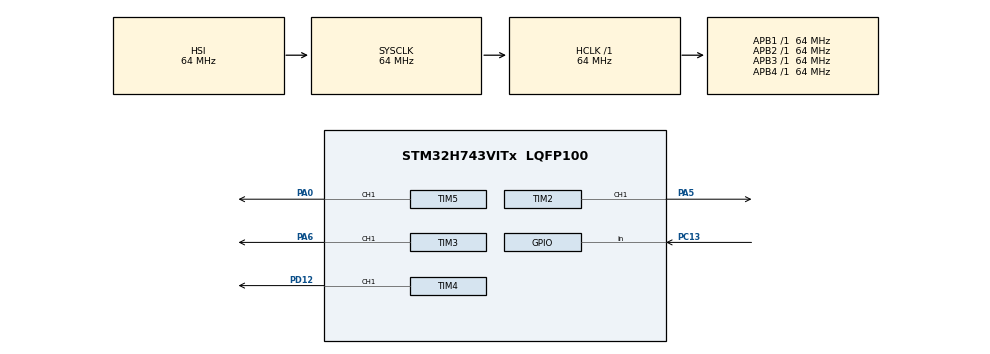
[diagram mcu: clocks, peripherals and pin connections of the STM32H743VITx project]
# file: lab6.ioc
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CORTEX_M7.default_mode_Activation=1
Mcu.Family=STM32H7
Mcu.Name=STM32H743VITx
Mcu.Package=LQFP100
NVIC.PriorityGroup=NVIC_PRIORITYGROUP_4
PA0.Signal=S_TIM5_CH1
PA5.Signal=S_TIM2_CH1_ETR
PA6.Signal=S_TIM3_CH1
PC13.GPIO_PuPd=GPIO_PULLDOWN
PC13.Signal=GPIO_Input
PD12.Signal=S_TIM4_CH1
ProjectManager.HeapSize=0x200
ProjectManager.StackSize=0x400
ProjectManager.TargetToolchain=STM32CubeIDE
RCC.ADCFreq_Value=129000000
RCC.APB1Freq_Value=64000000
RCC.APB2Freq_Value=64000000
RCC.APB3Freq_Value=64000000
RCC.APB4Freq_Value=64000000
RCC.CortexFreq_Value=64000000
RCC.HCLKFreq_Value=64000000
RCC.SYSCLKFreq_VALUE=64000000
RCC.USBFreq_Value=129000000
SH.S_TIM2_CH1_ETR.0=TIM2_CH1,PWM Generation1 CH1
SH.S_TIM3_CH1.0=TIM3_CH1,PWM Generation1 CH1
SH.S_TIM4_CH1.0=TIM4_CH1,PWM Generation1 CH1
SH.S_TIM5_CH1.0=TIM5_CH1,PWM Generation1 CH1
TIM2.Channel-PWM\ Generation1\ CH1=TIM_CHANNEL_1
TIM2.Period=999
TIM2.Prescaler=63
TIM3.Channel-PWM\ Generation1\ CH1=TIM_CHANNEL_1
TIM3.Period=499
TIM3.Prescaler=63
TIM4.Channel-PWM\ Generation1\ CH1=TIM_CHANNEL_1
TIM4.Period=1999
TIM4.Prescaler=63
TIM5.Channel-PWM\ Generation1\ CH1=TIM_CHANNEL_1
TIM5.Period=199
TIM5.Prescaler=63
VP_MEMORYMAP_VS_MEMORYMAP.Mode=CurAppReg
VP_TIM2_VS_ClockSourceINT.Mode=Internal
VP_TIM3_VS_ClockSourceINT.Mode=Internal
VP_TIM4_VS_ClockSourceINT.Mode=Internal
VP_TIM5_VS_ClockSourceINT.Mode=Internal
board=custom

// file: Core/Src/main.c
/* USER CODE BEGIN Header */
/**
  ******************************************************************************
  * @file           : main.c
  * @brief          : Main program body
  ******************************************************************************
  * @attention
  *
  * Copyright (c) 2026 STMicroelectronics.
  * All rights reserved.
  *
  * This software is licensed under terms that can be found in the LICENSE file
  * in the root directory of this software component.
  * If no LICENSE file comes with this software, it is provided AS-IS.
  *
  ******************************************************************************
  */
/* USER CODE END Header */
#include "main.h"

TIM_HandleTypeDef htim2;
TIM_HandleTypeDef htim3;
TIM_HandleTypeDef htim4;
TIM_HandleTypeDef htim5;

/* USER CODE BEGIN PV */
uint32_t duty_tim4 = 1000;        // Початкове значення для 50% (оскільки ARR = 999)
uint32_t last_button_press = 0;  // Змінна для антибрязкоту
/* USER CODE END PV */

void SystemClock_Config(void);
static void MPU_Config(void);
static void MX_GPIO_Init(void);
static void MX_TIM2_Init(void);
static void MX_TIM3_Init(void);
static void MX_TIM4_Init(void);
static void MX_TIM5_Init(void);

int main(void)
{

  /* MPU Configuration--------------------------------------------------------*/
  MPU_Config();

  /* MCU Configuration--------------------------------------------------------*/

  /* Reset of all peripherals, Initializes the Flash interface and the Systick. */
  HAL_Init();

  /* Configure the system clock */
  SystemClock_Config();

  /* Initialize all configured peripherals */
  MX_GPIO_Init();
  MX_TIM2_Init();
  MX_TIM3_Init();
  MX_TIM4_Init();
  MX_TIM5_Init();
  /* USER CODE BEGIN 2 */
  // Запуск апаратної генерації ШІМ на 4 таймерах
  HAL_TIM_PWM_Start(&htim2, TIM_CHANNEL_1);
  HAL_TIM_PWM_Start(&htim3, TIM_CHANNEL_1);
  HAL_TIM_PWM_Start(&htim4, TIM_CHANNEL_1);
  HAL_TIM_PWM_Start(&htim5, TIM_CHANNEL_1);

  // Cтартові 50% заповнення для всіх таймерів
  // Макроси змінюють регістр порівняння (CCR)
  __HAL_TIM_SET_COMPARE(&htim2, TIM_CHANNEL_1, 500);  // 50% від ARR=999 (1 кГц)
  __HAL_TIM_SET_COMPARE(&htim3, TIM_CHANNEL_1, 250);  // 50% від ARR=499 (2 кГц)
  __HAL_TIM_SET_COMPARE(&htim4, TIM_CHANNEL_1, 1000); // 50% від ARR=1999 (500 Гц)
  __HAL_TIM_SET_COMPARE(&htim5, TIM_CHANNEL_1, 100);  // 50% від ARR=199 (5 кГц)
  /* USER CODE END 2 */

  /* Infinite loop */
  while (1)
  {

    /* USER CODE BEGIN 3 */
	  if (HAL_GPIO_ReadPin(GPIOC, GPIO_PIN_13) == GPIO_PIN_SET)
	  {
	      // Програмний антибрязкіт (200 мс)
	      if (HAL_GetTick() - last_button_press > 200)
	      {
	          last_button_press = HAL_GetTick();
	          // Збільшуємо ширину імпульсу для TIM4 на 10%.
	          // Оскільки ARR для TIM4 = 1999, крок 10% дорівнює 200!
	          duty_tim4 += 200;
	          // Якщо перевищили 100% (2000) - скидаємо в нуль
	          if (duty_tim4 > 2000)
	          {
	              duty_tim4 = 0;
	          }
	          __HAL_TIM_SET_COMPARE(&htim4, TIM_CHANNEL_1, duty_tim4);
	      }
	  }
  }
  /* USER CODE END 3 */
}

void SystemClock_Config(void)
{
  RCC_OscInitTypeDef RCC_OscInitStruct = {0};
  RCC_ClkInitTypeDef RCC_ClkInitStruct = {0};

  /** Supply configuration update enable
  */
  HAL_PWREx_ConfigSupply(PWR_LDO_SUPPLY);

  /** Configure the main internal regulator output voltage
  */
  __HAL_PWR_VOLTAGESCALING_CONFIG(PWR_REGULATOR_VOLTAGE_SCALE3);

  while(!__HAL_PWR_GET_FLAG(PWR_FLAG_VOSRDY)) {}

  /** Initializes the RCC Oscillators according to the specified parameters
  * in the RCC_OscInitTypeDef structure.
  */
  RCC_OscInitStruct.OscillatorType = RCC_OSCILLATORTYPE_HSI;
  RCC_OscInitStruct.HSIState = RCC_HSI_DIV1;
  RCC_OscInitStruct.HSICalibrationValue = RCC_HSICALIBRATION_DEFAULT;
  RCC_OscInitStruct.PLL.PLLState = RCC_PLL_NONE;
  if (HAL_RCC_OscConfig(&RCC_OscInitStruct) != HAL_OK)
  {
    Error_Handler();
  }

  /** Initializes the CPU, AHB and APB buses clocks
  */
  RCC_ClkInitStruct.ClockType = RCC_CLOCKTYPE_HCLK|RCC_CLOCKTYPE_SYSCLK
                              |RCC_CLOCKTYPE_PCLK1|RCC_CLOCKTYPE_PCLK2
                              |RCC_CLOCKTYPE_D3PCLK1|RCC_CLOCKTYPE_D1PCLK1;
  RCC_ClkInitStruct.SYSCLKSource = RCC_SYSCLKSOURCE_HSI;
  RCC_ClkInitStruct.SYSCLKDivider = RCC_SYSCLK_DIV1;
  RCC_ClkInitStruct.AHBCLKDivider = RCC_HCLK_DIV1;
  RCC_ClkInitStruct.APB3CLKDivider = RCC_APB3_DIV1;
  RCC_ClkInitStruct.APB1CLKDivider = RCC_APB1_DIV1;
  RCC_ClkInitStruct.APB2CLKDivider = RCC_APB2_DIV1;
  RCC_ClkInitStruct.APB4CLKDivider = RCC_APB4_DIV1;

  if (HAL_RCC_ClockConfig(&RCC_ClkInitStruct, FLASH_LATENCY_1) != HAL_OK)
  {
    Error_Handler();
  }
}

static void MX_TIM2_Init(void)
{

  TIM_ClockConfigTypeDef sClockSourceConfig = {0};
  TIM_MasterConfigTypeDef sMasterConfig = {0};
  TIM_OC_InitTypeDef sConfigOC = {0};

  htim2.Instance = TIM2;
  htim2.Init.Prescaler = 63;
  htim2.Init.CounterMode = TIM_COUNTERMODE_UP;
  htim2.Init.Period = 999;
  htim2.Init.ClockDivision = TIM_CLOCKDIVISION_DIV1;
  htim2.Init.AutoReloadPreload = TIM_AUTORELOAD_PRELOAD_DISABLE;
  if (HAL_TIM_Base_Init(&htim2) != HAL_OK)
  {
    Error_Handler();
  }
  sClockSourceConfig.ClockSource = TIM_CLOCKSOURCE_INTERNAL;
  if (HAL_TIM_ConfigClockSource(&htim2, &sClockSourceConfig) != HAL_OK)
  {
    Error_Handler();
  }
  if (HAL_TIM_PWM_Init(&htim2) != HAL_OK)
  {
    Error_Handler();
  }
  sMasterConfig.MasterOutputTrigger = TIM_TRGO_RESET;
  sMasterConfig.MasterSlaveMode = TIM_MASTERSLAVEMODE_DISABLE;
  if (HAL_TIMEx_MasterConfigSynchronization(&htim2, &sMasterConfig) != HAL_OK)
  {
    Error_Handler();
  }
  sConfigOC.OCMode = TIM_OCMODE_PWM1;
  sConfigOC.Pulse = 0;
  sConfigOC.OCPolarity = TIM_OCPOLARITY_HIGH;
  sConfigOC.OCFastMode = TIM_OCFAST_DISABLE;
  if (HAL_TIM_PWM_ConfigChannel(&htim2, &sConfigOC, TIM_CHANNEL_1) != HAL_OK)
  {
    Error_Handler();
  }
  HAL_TIM_MspPostInit(&htim2);

}

static void MX_TIM3_Init(void)
{

  TIM_ClockConfigTypeDef sClockSourceConfig = {0};
  TIM_MasterConfigTypeDef sMasterConfig = {0};
  TIM_OC_InitTypeDef sConfigOC = {0};

  htim3.Instance = TIM3;
  htim3.Init.Prescaler = 63;
  htim3.Init.CounterMode = TIM_COUNTERMODE_UP;
  htim3.Init.Period = 499;
  htim3.Init.ClockDivision = TIM_CLOCKDIVISION_DIV1;
  htim3.Init.AutoReloadPreload = TIM_AUTORELOAD_PRELOAD_DISABLE;
  if (HAL_TIM_Base_Init(&htim3) != HAL_OK)
  {
    Error_Handler();
  }
  sClockSourceConfig.ClockSource = TIM_CLOCKSOURCE_INTERNAL;
  if (HAL_TIM_ConfigClockSource(&htim3, &sClockSourceConfig) != HAL_OK)
  {
    Error_Handler();
  }
  if (HAL_TIM_PWM_Init(&htim3) != HAL_OK)
  {
    Error_Handler();
  }
  sMasterConfig.MasterOutputTrigger = TIM_TRGO_RESET;
  sMasterConfig.MasterSlaveMode = TIM_MASTERSLAVEMODE_DISABLE;
  if (HAL_TIMEx_MasterConfigSynchronization(&htim3, &sMasterConfig) != HAL_OK)
  {
    Error_Handler();
  }
  sConfigOC.OCMode = TIM_OCMODE_PWM1;
  sConfigOC.Pulse = 0;
  sConfigOC.OCPolarity = TIM_OCPOLARITY_HIGH;
  sConfigOC.OCFastMode = TIM_OCFAST_DISABLE;
  if (HAL_TIM_PWM_ConfigChannel(&htim3, &sConfigOC, TIM_CHANNEL_1) != HAL_OK)
  {
    Error_Handler();
  }
  HAL_TIM_MspPostInit(&htim3);

}

static void MX_TIM4_Init(void)
{

  TIM_ClockConfigTypeDef sClockSourceConfig = {0};
  TIM_MasterConfigTypeDef sMasterConfig = {0};
  TIM_OC_InitTypeDef sConfigOC = {0};

  htim4.Instance = TIM4;
  htim4.Init.Prescaler = 63;
  htim4.Init.CounterMode = TIM_COUNTERMODE_UP;
  htim4.Init.Period = 1999;
  htim4.Init.ClockDivision = TIM_CLOCKDIVISION_DIV1;
  htim4.Init.AutoReloadPreload = TIM_AUTORELOAD_PRELOAD_DISABLE;
  if (HAL_TIM_Base_Init(&htim4) != HAL_OK)
  {
    Error_Handler();
  }
  sClockSourceConfig.ClockSource = TIM_CLOCKSOURCE_INTERNAL;
  if (HAL_TIM_ConfigClockSource(&htim4, &sClockSourceConfig) != HAL_OK)
  {
    Error_Handler();
  }
  if (HAL_TIM_PWM_Init(&htim4) != HAL_OK)
  {
    Error_Handler();
  }
  sMasterConfig.MasterOutputTrigger = TIM_TRGO_RESET;
  sMasterConfig.MasterSlaveMode = TIM_MASTERSLAVEMODE_DISABLE;
  if (HAL_TIMEx_MasterConfigSynchronization(&htim4, &sMasterConfig) != HAL_OK)
  {
    Error_Handler();
  }
  sConfigOC.OCMode = TIM_OCMODE_PWM1;
  sConfigOC.Pulse = 0;
  sConfigOC.OCPolarity = TIM_OCPOLARITY_HIGH;
  sConfigOC.OCFastMode = TIM_OCFAST_DISABLE;
  if (HAL_TIM_PWM_ConfigChannel(&htim4, &sConfigOC, TIM_CHANNEL_1) != HAL_OK)
  {
    Error_Handler();
  }
  HAL_TIM_MspPostInit(&htim4);

}

static void MX_TIM5_Init(void)
{

  TIM_ClockConfigTypeDef sClockSourceConfig = {0};
  TIM_MasterConfigTypeDef sMasterConfig = {0};
  TIM_OC_InitTypeDef sConfigOC = {0};

  htim5.Instance = TIM5;
  htim5.Init.Prescaler = 63;
  htim5.Init.CounterMode = TIM_COUNTERMODE_UP;
  htim5.Init.Period = 199;
  htim5.Init.ClockDivision = TIM_CLOCKDIVISION_DIV1;
  htim5.Init.AutoReloadPreload = TIM_AUTORELOAD_PRELOAD_DISABLE;
  if (HAL_TIM_Base_Init(&htim5) != HAL_OK)
  {
    Error_Handler();
  }
  sClockSourceConfig.ClockSource = TIM_CLOCKSOURCE_INTERNAL;
  if (HAL_TIM_ConfigClockSource(&htim5, &sClockSourceConfig) != HAL_OK)
  {
    Error_Handler();
  }
  if (HAL_TIM_PWM_Init(&htim5) != HAL_OK)
  {
    Error_Handler();
  }
  sMasterConfig.MasterOutputTrigger = TIM_TRGO_RESET;
  sMasterConfig.MasterSlaveMode = TIM_MASTERSLAVEMODE_DISABLE;
  if (HAL_TIMEx_MasterConfigSynchronization(&htim5, &sMasterConfig) != HAL_OK)
  {
    Error_Handler();
  }
  sConfigOC.OCMode = TIM_OCMODE_PWM1;
  sConfigOC.Pulse = 0;
  sConfigOC.OCPolarity = TIM_OCPOLARITY_HIGH;
  sConfigOC.OCFastMode = TIM_OCFAST_DISABLE;
  if (HAL_TIM_PWM_ConfigChannel(&htim5, &sConfigOC, TIM_CHANNEL_1) != HAL_OK)
  {
    Error_Handler();
  }
  HAL_TIM_MspPostInit(&htim5);

}

static void MX_GPIO_Init(void)
{
  GPIO_InitTypeDef GPIO_InitStruct = {0};

  /* GPIO Ports Clock Enable */
  __HAL_RCC_GPIOC_CLK_ENABLE();
  __HAL_RCC_GPIOA_CLK_ENABLE();
  __HAL_RCC_GPIOD_CLK_ENABLE();

  /*Configure GPIO pin : PC13 */
  GPIO_InitStruct.Pin = GPIO_PIN_13;
  GPIO_InitStruct.Mode = GPIO_MODE_INPUT;
  GPIO_InitStruct.Pull = GPIO_PULLDOWN;
  HAL_GPIO_Init(GPIOC, &GPIO_InitStruct);

}

 /* MPU Configuration */

void MPU_Config(void)
{
  MPU_Region_InitTypeDef MPU_InitStruct = {0};

  /* Disables the MPU */
  HAL_MPU_Disable();

  /** Initializes and configures the Region and the memory to be protected
  */
  MPU_InitStruct.Enable = MPU_REGION_ENABLE;
  MPU_InitStruct.Number = MPU_REGION_NUMBER0;
  MPU_InitStruct.BaseAddress = 0x0;
  MPU_InitStruct.Size = MPU_REGION_SIZE_4GB;
  MPU_InitStruct.SubRegionDisable = 0x87;
  MPU_InitStruct.TypeExtField = MPU_TEX_LEVEL0;
  MPU_InitStruct.AccessPermission = MPU_REGION_NO_ACCESS;
  MPU_InitStruct.DisableExec = MPU_INSTRUCTION_ACCESS_DISABLE;
  MPU_InitStruct.IsShareable = MPU_ACCESS_SHAREABLE;
  MPU_InitStruct.IsCacheable = MPU_ACCESS_NOT_CACHEABLE;
  MPU_InitStruct.IsBufferable = MPU_ACCESS_NOT_BUFFERABLE;

  HAL_MPU_ConfigRegion(&MPU_InitStruct);
  /* Enables the MPU */
  HAL_MPU_Enable(MPU_PRIVILEGED_DEFAULT);

}

void Error_Handler(void)
{
  __disable_irq();
  while (1)
  {
  }
}
